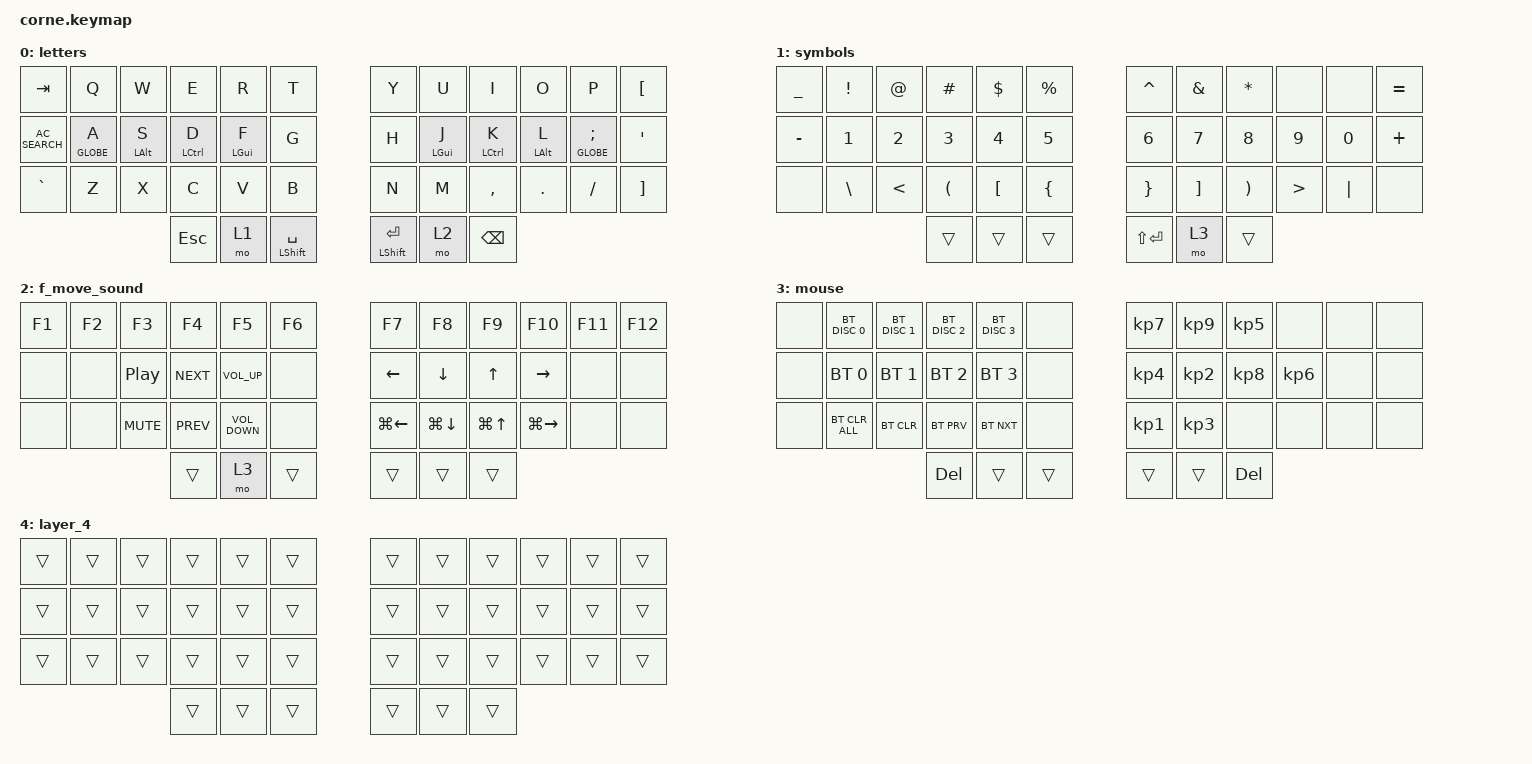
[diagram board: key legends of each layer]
/*
 * Copyright (c) 2020 The ZMK Contributors
 *
 * SPDX-License-Identifier: MIT
 */

#include <behaviors.dtsi>
#include <dt-bindings/zmk/bt.h>
#include <dt-bindings/zmk/keys.h>

/ {
    combos { compatible = "zmk,combos"; };

    behaviors {
        htk: htk {
            compatible = "zmk,behavior-hold-tap";
            label = "HTK";
            #binding-cells = <2>;
            tapping-term-ms = <200>;
            require-prior-idle-ms = <100>;
            flavor = "tap-preferred";
            bindings = <&kp>, <&kp>;

            quick-tap-ms = <200>;
        };
    };

    keymap {
        compatible = "zmk,keymap";

        letters {
            // -----------------------------------------------------------------------------------------
            // |  TAB |  Q  |  W  |  E  |  R  |  T  |   |  Y  |  U   |  I  |  O  |  P  | BKSP |
            // | CTRL |  A  |  S  |  D  |  F  |  G  |   |  H  |  J   |  K  |  L  |  ;  |  '   |
            // | SHFT |  Z  |  X  |  C  |  V  |  B  |   |  N  |  M   |  ,  |  .  |  /  | ESC  |
            //                    | GUI | LWR | SPC |   | ENT | RSE  | ALT |

            bindings = <
&kp TAB          &kp Q         &kp W            &kp E         &kp R            &kp T               &kp Y              &kp U        &kp I          &kp O            &kp P                 &kp LEFT_BRACKET
&kp C_AC_SEARCH  &htk GLOBE A  &htk LEFT_ALT S  &htk LCTRL D  &htk LEFT_GUI F  &kp G               &kp H              &htk LGUI J  &htk LCTRL K   &htk LEFT_ALT L  &htk GLOBE SEMICOLON  &kp SQT
&kp GRAVE        &kp Z         &kp X            &kp C         &kp V            &kp B               &kp N              &kp M        &kp COMMA      &kp DOT          &kp FSLH              &kp RIGHT_BRACKET
                                                &kp ESCAPE    &mo 1            &htk LSHFT SPACE    &htk LSHIFT ENTER  &mo 2        &kp BACKSPACE
            >;
        };

        symbols {
            // -----------------------------------------------------------------------------------------
            // |  TAB |  1  |  2  |  3  |  4  |  5  |   |  6  |  7  |  8  |  9  |  0  | BKSP |
            // | BTCLR| BT1 | BT2 | BT3 | BT4 | BT5 |   | LFT | DWN |  UP | RGT |     |      |
            // | SHFT |     |     |     |     |     |   |     |     |     |     |     |      |
            //                    | GUI |     | SPC |   | ENT |     | ALT |

            bindings = <
&kp UNDERSCORE  &kp EXCLAMATION  &kp AT_SIGN    &kp HASH              &kp DOLLAR        &kp PERCENT       &kp CARET        &kp AMPERSAND      &kp ASTERISK           &none             &none     &kp EQUAL
&kp MINUS       &kp NUMBER_1     &kp NUMBER_2   &kp NUMBER_3          &kp NUMBER_4      &kp N5            &kp NUMBER_6     &kp N7             &kp N8                 &kp N9            &kp N0    &kp PLUS
&none           &kp BACKSLASH    &kp LESS_THAN  &kp LEFT_PARENTHESIS  &kp LEFT_BRACKET  &kp LEFT_BRACE    &kp RIGHT_BRACE  &kp RIGHT_BRACKET  &kp RIGHT_PARENTHESIS  &kp GREATER_THAN  &kp PIPE  &none
                                                &trans                &trans            &trans            &kp LS(RET)      &mo 3              &trans
            >;
        };

        f_move_sound {
            bindings = <
&kp F1  &kp F2  &kp F3            &kp F4      &kp F5             &kp F6    &kp F7              &kp F8              &kp F9            &kp F10        &kp F11  &kp F12
&none   &none   &kp C_PLAY_PAUSE  &kp C_NEXT  &kp C_VOLUME_UP    &none     &kp LEFT            &kp DOWN_ARROW      &kp UP_ARROW      &kp RIGHT      &none    &none
&none   &none   &kp K_MUTE        &kp C_PREV  &kp C_VOLUME_DOWN  &none     &kp LG(LEFT_ARROW)  &kp LG(DOWN_ARROW)  &kp LG(UP_ARROW)  &kp LG(RIGHT)  &none    &none
                                  &trans      &mo 3              &trans    &trans              &trans              &trans
            >;
        };

        mouse {
            bindings = <
&none  &bt BT_DISC 0   &bt BT_DISC 1  &bt BT_DISC 2  &bt BT_DISC 3  &none     &kp KP_NUMBER_7  &kp KP_NUMBER_9  &kp KP_NUMBER_5  &none            &none  &none
&none  &bt BT_SEL 0    &bt BT_SEL 1   &bt BT_SEL 2   &bt BT_SEL 3   &none     &kp KP_NUMBER_4  &kp KP_NUMBER_2  &kp KP_NUMBER_8  &kp KP_NUMBER_6  &none  &none
&none  &bt BT_CLR_ALL  &bt BT_CLR     &bt BT_PRV     &bt BT_NXT     &none     &kp KP_NUMBER_1  &kp KP_NUMBER_3  &none            &none            &none  &none
                                      &kp DELETE     &trans         &trans    &trans           &trans           &kp DELETE
            >;
        };

        layer_4 {
            bindings = <
&trans  &trans  &trans  &trans  &trans  &trans    &trans  &trans  &trans  &trans  &trans  &trans
&trans  &trans  &trans  &trans  &trans  &trans    &trans  &trans  &trans  &trans  &trans  &trans
&trans  &trans  &trans  &trans  &trans  &trans    &trans  &trans  &trans  &trans  &trans  &trans
                        &trans  &trans  &trans    &trans  &trans  &trans
            >;
        };
    };
};
